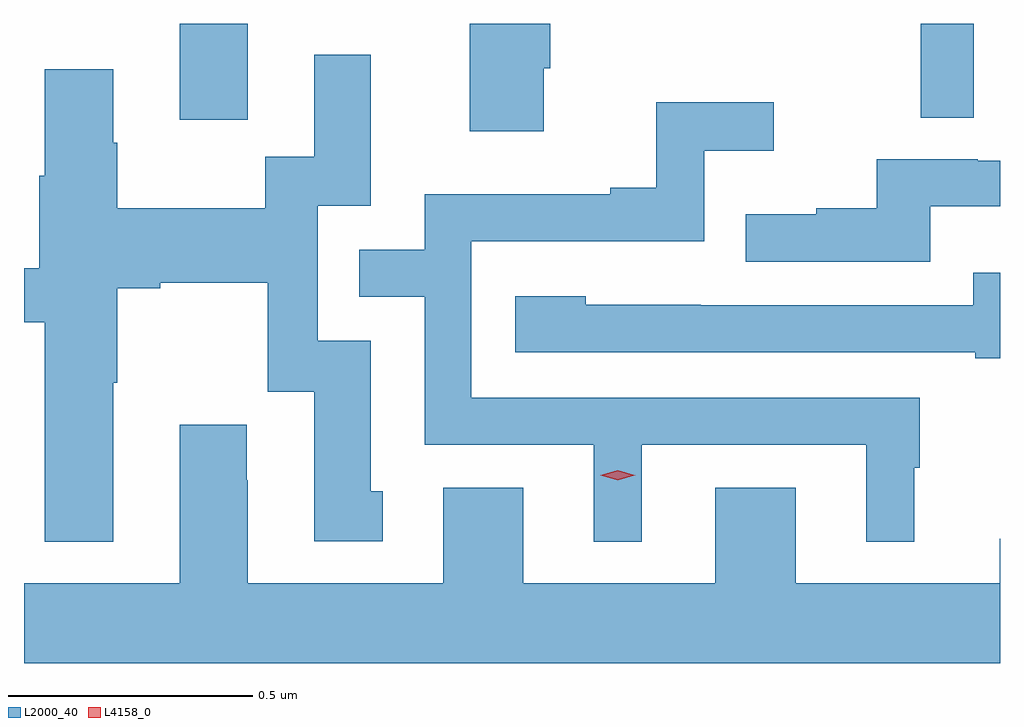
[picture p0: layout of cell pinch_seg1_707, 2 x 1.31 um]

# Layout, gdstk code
import gdstk
lib = gdstk.Library(unit=1e-6, precision=1e-09)
def R(c, l, rs):  # rectangles x0, y0, x1, y1
    for r in rs: c.add(gdstk.rectangle(r[:2], r[2:], *l))
def P(c, l, *ps):  # polygons
    for p in ps: c.add(gdstk.Polygon(p, *l))
L2000_40 = (2000, 40)
L4158_0 = (4158, 0)

pinch_seg1_707 = lib.new_cell('pinch_seg1_707')
R(pinch_seg1_707, L2000_40, [(750.455,550.182,750.595,550.378), (751.974,550.186,752.082,550.378)])
P(pinch_seg1_707, L2000_40, [(751.201,550.287),(751.214,550.287),(751.214,550.378),(751.049,550.378),(751.049,550.158),(751.201,550.158)],
  [(750.319,549.643),(750.327,549.643),(750.327,549.836),(750.415,549.836),(750.415,549.848),(750.635,549.848),(750.635,549.624),(750.731,549.624),(750.731,549.318),(750.871,549.318),(750.871,549.42),(750.847,549.42),(750.847,549.729),(750.738,549.729),(750.738,550.005),(750.847,550.005),(750.847,550.315),(750.731,550.315),(750.731,550.106),(750.63,550.106),(750.63,550),(750.327,550),(750.327,550.134),(750.319,550.134),(750.319,550.285),(750.179,550.285),(750.179,550.067),(750.167,550.067),(750.167,549.877),(750.136,549.877),(750.136,549.767),(750.179,549.767),(750.179,549.317),(750.319,549.317)],
  [(751.402,549.516),(751.862,549.516),(751.862,549.317),(751.96,549.317),(751.96,549.468),(751.972,549.468),(751.972,549.612),(751.053,549.612),(751.053,549.933),(751.53,549.933),(751.53,550.118),(751.672,550.118),(751.672,550.217),(751.432,550.217),(751.432,550.042),(751.337,550.042),(751.337,550.029),(750.957,550.029),(750.957,549.915),(750.823,549.915),(750.823,549.819),(750.957,549.819),(750.957,549.516),(751.304,549.516),(751.304,549.317),(751.402,549.317)],
  [(751.993,550.004),(752.136,550.004),(752.136,550.098),(752.09,550.098),(752.09,550.101),(751.883,550.101),(751.883,550),(751.759,550),(751.759,549.988),(751.615,549.988),(751.615,549.891),(751.993,549.891)],
  [(752.136,549.868),(752.081,549.868),(752.081,549.801),(751.523,549.801),(751.523,549.802),(751.287,549.802),(751.287,549.82),(751.143,549.82),(751.143,549.705),(752.085,549.705),(752.085,549.693),(752.136,549.693)],
  [(752.136,549.323),(752.135,549.323),(752.135,549.232),(751.717,549.232),(751.717,549.427),(751.553,549.427),(751.553,549.232),(751.159,549.232),(751.159,549.427),(750.995,549.427),(750.995,549.232),(750.595,549.232),(750.595,549.443),(750.592,549.443),(750.592,549.556),(750.455,549.556),(750.455,549.232),(750.136,549.232),(750.136,549.068),(752.136,549.068)])
P(pinch_seg1_707, L4158_0, [(751.353,549.443),(751.317,549.453),(751.317,549.453),(751.317,549.453),(751.353,549.463),(751.388,549.453),(751.389,549.453),(751.388,549.453)])

lib.write_gds('pinch_seg1_707.gds')
